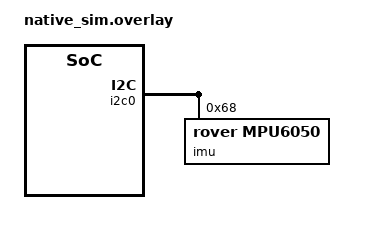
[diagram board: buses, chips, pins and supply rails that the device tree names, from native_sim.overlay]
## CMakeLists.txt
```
cmake_minimum_required(VERSION 3.20.0)
find_package(Zephyr REQUIRED HINTS $ENV{ZEPHYR_BASE})
project(rover_imu_test)

target_sources(app PRIVATE src/main.c)
```

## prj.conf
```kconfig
CONFIG_ZTEST=y
CONFIG_I2C=y
CONFIG_I2C_EMUL=y
CONFIG_EMUL=y
CONFIG_SENSOR=y
CONFIG_LOG=y
```

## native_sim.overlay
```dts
&i2c0 {
	status = "okay";

	imu: imu@68 {
		compatible = "rover,mpu6050";
		reg = <0x68>;
		accel-range-g = <4>;
		gyro-range-dps = <500>;
		dlpf-cfg = <3>;
		sample-rate-div = <4>;
	};
};
```

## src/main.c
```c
#include <zephyr/device.h>
#include <zephyr/drivers/emul.h>
#include <zephyr/drivers/sensor.h>
#include <zephyr/ztest.h>

#include <rover/rover_mpu6050_emul.h>
#include <rover/rover_mpu6050_regs.h>

#define IMU_NODE DT_NODELABEL(imu)

static const struct device *const imu = DEVICE_DT_GET(IMU_NODE);
static const struct emul *const imu_emul = EMUL_DT_GET(IMU_NODE);

static double sv_to_double(const struct sensor_value *v)
{
	return (double)v->val1 + (double)v->val2 / 1e6;
}

ZTEST(imu, test_device_ready)
{
	zassert_true(device_is_ready(imu));
}

ZTEST(imu, test_init_programs_config_registers)
{
	/* 4 g -> AFS_SEL 1, 500 dps -> FS_SEL 1 */
	zassert_equal(rover_mpu6050_emul_get_reg(imu_emul, MPU6050_REG_ACCEL_CONFIG), 1 << 3);
	zassert_equal(rover_mpu6050_emul_get_reg(imu_emul, MPU6050_REG_GYRO_CONFIG), 1 << 3);
	zassert_equal(rover_mpu6050_emul_get_reg(imu_emul, MPU6050_REG_CONFIG), 3);
	zassert_equal(rover_mpu6050_emul_get_reg(imu_emul, MPU6050_REG_SMPLRT_DIV), 4);
	/* sleep cleared, PLL clock selected */
	zassert_equal(rover_mpu6050_emul_get_reg(imu_emul, MPU6050_REG_PWR_MGMT_1),
		      MPU6050_CLKSEL_PLL_XGYRO);
}

ZTEST(imu, test_accel_scaling)
{
	/* +-4 g => 8192 LSB/g. 1 g on Z, -0.5 g on X */
	const int16_t raw[7] = {-4096, 0, 8192, 0, 0, 0, 0};
	struct sensor_value acc[3];

	rover_mpu6050_emul_set_raw(imu_emul, raw);
	zassert_ok(sensor_sample_fetch(imu));
	zassert_ok(sensor_channel_get(imu, SENSOR_CHAN_ACCEL_XYZ, acc));

	zassert_within(sv_to_double(&acc[0]), -4.903325, 1e-4);
	zassert_within(sv_to_double(&acc[1]), 0.0, 1e-6);
	zassert_within(sv_to_double(&acc[2]), 9.80665, 1e-4);
}

ZTEST(imu, test_gyro_scaling)
{
	/* +-500 dps => 65.5 LSB/dps. 655 raw = 10 dps = 0.1745 rad/s */
	const int16_t raw[7] = {0, 0, 0, 0, 655, -655, 0};
	struct sensor_value gyr[3];

	rover_mpu6050_emul_set_raw(imu_emul, raw);
	zassert_ok(sensor_sample_fetch(imu));
	zassert_ok(sensor_channel_get(imu, SENSOR_CHAN_GYRO_XYZ, gyr));

	zassert_within(sv_to_double(&gyr[0]), 0.174533, 1e-4);
	zassert_within(sv_to_double(&gyr[1]), -0.174533, 1e-4);
	zassert_within(sv_to_double(&gyr[2]), 0.0, 1e-6);
}

ZTEST(imu, test_single_axis_channels_match_xyz)
{
	const int16_t raw[7] = {100, 200, 300, 0, 400, 500, 600};
	struct sensor_value xyz[3], single;

	rover_mpu6050_emul_set_raw(imu_emul, raw);
	zassert_ok(sensor_sample_fetch(imu));

	zassert_ok(sensor_channel_get(imu, SENSOR_CHAN_ACCEL_XYZ, xyz));
	zassert_ok(sensor_channel_get(imu, SENSOR_CHAN_ACCEL_Y, &single));
	zassert_equal(single.val1, xyz[1].val1);
	zassert_equal(single.val2, xyz[1].val2);

	zassert_ok(sensor_channel_get(imu, SENSOR_CHAN_GYRO_XYZ, xyz));
	zassert_ok(sensor_channel_get(imu, SENSOR_CHAN_GYRO_Z, &single));
	zassert_equal(single.val1, xyz[2].val1);
	zassert_equal(single.val2, xyz[2].val2);
}

ZTEST(imu, test_die_temperature)
{
	/* raw 0 => 36.53 C; raw 3400 => 46.53 C */
	int16_t raw[7] = {0};
	struct sensor_value t;

	rover_mpu6050_emul_set_raw(imu_emul, raw);
	zassert_ok(sensor_sample_fetch(imu));
	zassert_ok(sensor_channel_get(imu, SENSOR_CHAN_DIE_TEMP, &t));
	zassert_within(sv_to_double(&t), 36.53, 1e-3);

	raw[3] = 3400;
	rover_mpu6050_emul_set_raw(imu_emul, raw);
	zassert_ok(sensor_sample_fetch(imu));
	zassert_ok(sensor_channel_get(imu, SENSOR_CHAN_DIE_TEMP, &t));
	zassert_within(sv_to_double(&t), 46.53, 1e-3);
}

ZTEST(imu, test_bus_error_propagates)
{
	rover_mpu6050_emul_set_fail(imu_emul, true);
	zassert_equal(sensor_sample_fetch(imu), -EIO);
	rover_mpu6050_emul_set_fail(imu_emul, false);
	zassert_ok(sensor_sample_fetch(imu));
}

ZTEST(imu, test_unsupported_channel)
{
	struct sensor_value v;

	zassert_ok(sensor_sample_fetch(imu));
	zassert_equal(sensor_channel_get(imu, SENSOR_CHAN_HUMIDITY, &v), -ENOTSUP);
}

ZTEST_SUITE(imu, NULL, NULL, NULL, NULL, NULL);
```
